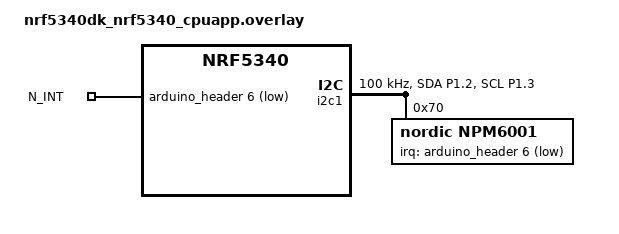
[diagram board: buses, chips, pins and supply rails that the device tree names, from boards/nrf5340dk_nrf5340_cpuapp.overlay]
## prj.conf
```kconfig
#
# Copyright (c) 2022 Nordic Semiconductor
#
# SPDX-License-Identifier: LicenseRef-Nordic-5-Clause
#

# Enable I2C ("TWI")
CONFIG_I2C=y

# Enable nPM6001 NCS driver
CONFIG_PMIC_NPM6001=y
# Enable nPM6001 library
CONFIG_LIB_NPM6001=y
# Needed for certain nPM6001-EK revisions
CONFIG_LIB_NPM6001_C3_WORKAROUND=y

# Enable logging
CONFIG_LOG=y

# Enable Shell
CONFIG_SHELL=y

# Enable DK LED and Buttons library
CONFIG_DK_LIBRARY=y
CONFIG_GPIO=y
```

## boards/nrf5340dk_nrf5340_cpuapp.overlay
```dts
&i2c1 {
	compatible = "nordic,nrf-twim";
	status = "okay";

	pinctrl-0 = <&i2c1_default_alt>;
	pinctrl-1 = <&i2c1_sleep_alt>;
	pinctrl-names = "default", "sleep";
	clock-frequency = <I2C_BITRATE_STANDARD>;

	npm6001@70 {
		status = "okay";
		compatible = "nordic,npm6001";
		label = "NPM6001";
		reg = <0x70>;
		irq-gpios = <&arduino_header 6 (GPIO_PULL_UP | GPIO_ACTIVE_LOW)>;	/* D0 */
		buck0-voltage = <2300>;
		buck1-voltage = <1200>;
		buck2-voltage = <1400>;
		buck3-voltage = <500>;
		ldo0-voltage = <2700>;
		ldo1-voltage = <1800>;
	};
};

&pinctrl {
	i2c1_default_alt: i2c1_default_alt {
		group1 {
			psels = <NRF_PSEL(TWIM_SDA, 1, 2)>,
				<NRF_PSEL(TWIM_SCL, 1, 3)>;
			bias-pull-up;
		};
	};

	i2c1_sleep_alt: i2c1_sleep_alt {
		group1 {
			psels = <NRF_PSEL(TWIM_SDA, 1, 2)>,
				<NRF_PSEL(TWIM_SCL, 1, 3)>;
			bias-pull-up;
			low-power-enable;
		};
	};
};

/ {
	npm6001_irq {
		compatible = "gpio-keys";
		n_int: n_int_0 {
			gpios = <&arduino_header 6 (GPIO_PULL_UP | GPIO_ACTIVE_LOW)>;	/* D0 */
			label = "N_INT";
		};
	};
};
```

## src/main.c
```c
/*
 * Copyright (c) 2022 Nordic Semiconductor ASA
 *
 * SPDX-License-Identifier: LicenseRef-Nordic-5-Clause
 */

#include <zephyr/kernel.h>
#include <zephyr/device.h>
#include <zephyr/drivers/gpio.h>
#include <zephyr/drivers/i2c.h>
#include <zephyr/logging/log.h>

#include <dk_buttons_and_leds.h>

#include <lib_npm6001.h>

LOG_MODULE_REGISTER(main, CONFIG_MAIN_LOG_LEVEL);

#define LED_INIT_OK DK_LED1
#define LED_BUCK3_ON DK_LED2
#define LED_GPIO_ON DK_LED4

#define BUCK0_DEFAULT_VOLTAGE 3300
#define BUCK1_DEFAULT_VOLTAGE 1200
#define BUCK2_DEFAULT_VOLTAGE 1400
#define BUCK3_DEFAULT_VOLTAGE 500
#define LDO0_DEFAULT_VOLTAGE 2700

static K_SEM_DEFINE(n_int_sem, 0, 1);

static uint16_t buck3_voltage = BUCK3_DEFAULT_VOLTAGE;
static bool buck3_enabled = true;
static bool npm6001_gpio_set;

/**
 * @brief Print sample help message to log
 */
static void print_info_message(void)
{
	LOG_INF("nPM6001 sample");
	LOG_INF("");
	LOG_INF("Button behavior:");
	LOG_INF("  Button 1: Toggle BUCK3 regulator on/off");
	LOG_INF("  Button 2: Increase BUCK3 voltage by 25 mV");
	LOG_INF("  Button 3: Decrease BUCK3 voltage by 25 mV");
	LOG_INF("  Button 4: Toggle nPM6001 GPIO pins");
	LOG_INF("  All four buttons pressed at the same time: Hibernate for 8 seconds");
	LOG_INF("LED behavior:");
	LOG_INF("  LED 1: On after successful initialization");
	LOG_INF("  LED 2: On when BUCK3 is turned on");
	LOG_INF("  LED 4: On when nPM6001 GPIO pins are set");
	LOG_INF("  All four LEDs blinking: an error occurred during initialization");
	LOG_INF("");
	LOG_INF("NOTE: The LEDs will likely appear weak if initialization fails,");
	LOG_INF("due to the default nPM6001 BUCK0 supply voltage being relatively low.");
	LOG_INF("");
}

/**
 * @brief Print shell help message to log
 */
static void print_shell_message(void)
{
	LOG_INF("The shell is currently enabled.");
	LOG_INF("See relevant 'npm6001' root command and assosicated subcommands.");
	LOG_INF("(hint: use the 'tab' character for autocompletion)");
}

/**
 * @brief Callback for button events.
 *
 * @param[in]   button_state  Bitmask containing buttons state.
 * @param[in]   has_changed   Bitmask containing buttons that has
 *                            changed their state.
 */
static void button_handler(uint32_t button_state, uint32_t has_changed)
{
	bool set_voltage = false;
	int err;

	if ((button_state & DK_BTN1_MSK) & has_changed) {
		/* Toggle BUCK3 regulator */
		if (buck3_enabled) {
			err = lib_npm6001_vreg_disable(LIB_NPM6001_BUCK3);
			if (err) {
				LOG_ERR("lib_npm6001_vreg_disable=%d", err);
			} else {
				buck3_enabled = false;
				(void) dk_set_led_off(LED_BUCK3_ON);
			}
		} else {
			err = lib_npm6001_vreg_enable(LIB_NPM6001_BUCK3);
			if (err) {
				LOG_ERR("lib_npm6001_vreg_enable=%d", err);
			} else {
				buck3_enabled = true;
				(void) dk_set_led_on(LED_BUCK3_ON);
			}
		}
	}

	if ((button_state & DK_BTN2_MSK) & has_changed) {
		/* Increase voltage by 25 mV */
		buck3_voltage += 25;
		set_voltage = true;
	}

	if ((button_state & DK_BTN3_MSK) & has_changed) {
		/* Decrease voltage by 25 mV */
		buck3_voltage -= 25;
		set_voltage = true;
	}

	if ((button_state & DK_BTN4_MSK) & has_changed) {
		const enum lib_npm6001_gpio gpio_pins[] = {
			LIB_NPM6001_GPIO0,
			LIB_NPM6001_GPIO1,
			LIB_NPM6001_GPIO2,
		};

		/* Toggle nPM6001 GPIO pins */
		for (int i = 0; i < ARRAY_SIZE(gpio_pins); ++i) {
			if (npm6001_gpio_set) {
				err = lib_npm6001_gpio_clr(gpio_pins[i]);
				if (err) {
					LOG_ERR("lib_npm6001_gpio_set=%d", err);
				}
			} else {
				err = lib_npm6001_gpio_set(gpio_pins[i]);
				if (err) {
					LOG_ERR("lib_npm6001_gpio_set=%d", err);
				}
			}
		}

		if (npm6001_gpio_set) {
			npm6001_gpio_set = false;
			(void) dk_set_led_off(LED_GPIO_ON);
		} else {
			npm6001_gpio_set = true;
			(void) dk_set_led_on(LED_GPIO_ON);
		}
	}

	if (button_state == DK_ALL_BTNS_MSK) {
		/* Hibernate for 8 seconds (= 2 ticks) */
		err = lib_npm6001_hibernate(2);
		if (err) {
			LOG_ERR("lib_npm6001_hibernate=%d", err);
		}
	}

	if (set_voltage) {
		buck3_voltage =
			CLAMP(buck3_voltage, LIB_NPM6001_BUCK3_MINV, LIB_NPM6001_BUCK3_MAXV);
		err = lib_npm6001_vreg_voltage_set(LIB_NPM6001_BUCK3, buck3_voltage);
		if (err) {
			LOG_ERR("lib_npm6001_vreg_voltage_set=%d", err);
		}
	}
}

/**
 * @brief Function for initializing LEDs and Buttons.
 */
static int configure_dk_gpio(void)
{
	int err;

	err = dk_buttons_init(button_handler);
	if (err) {
		LOG_ERR("dk_buttons_init=%d", err);
		return err;
	}

	err = dk_leds_init();
	if (err) {
		LOG_ERR("dk_leds_init=%d", err);
		return err;
	}

	return 0;
}

/**
 * @brief Function for initializing nPM6001 PMIC.
 */
static int configure_npm6001(void)
{
	/* Enable pull-downs on mode pins in case they aren't connected to anything.
	 * Note: this will cause an added power drain when the mode pins are actually pulled high.
	 */
	const struct lib_npm6001_mode_pin_cfg pin_cfg = {
		.pad_type = LIB_NPM6001_MODE_PIN_CFG_PAD_TYPE_CMOS,
		.pulldown = LIB_NPM6001_MODE_PIN_CFG_PULLDOWN_ENABLED,
	};
	const enum lib_npm6001_mode_pin mode_pins[] = {
		LIB_NPM6001_BUCK_PIN_MODE0,
		LIB_NPM6001_BUCK_PIN_MODE1,
		LIB_NPM6001_BUCK_PIN_MODE2,
	};
	int err;

	for (int i = 0; i < ARRAY_SIZE(mode_pins); ++i) {
		err = lib_npm6001_mode_pin_cfg(mode_pins[i], &pin_cfg);
		if (err) {
			LOG_ERR("lib_npm6001_mode_pin_cfg(%d)=%d", mode_pins[i], err);
			return err;
		}
	}

	/* Enable BUCK_MODE1 pin for BUCK1 */
	err = lib_npm6001_vreg_mode_pin_enable(LIB_NPM6001_BUCK1, LIB_NPM6001_BUCK_PIN_MODE1);
	if (err) {
		LOG_ERR("lib_npm6001_vreg_mode_pin_enable=%d", err);
		return err;
	}

	buck3_enabled = true;

	const struct lib_npm6001_gpio_cfg gpio_cfg = {
		.direction = LIB_NPM6001_GPIO_CFG_DIRECTION_OUTPUT,
		.input = LIB_NPM6001_GPIO_CFG_INPUT_DISABLED,
		.pulldown = LIB_NPM6001_GPIO_CFG_PULLDOWN_DISABLED,
		.drive = LIB_NPM6001_GPIO_CFG_DRIVE_NORMAL,
		.sense = LIB_NPM6001_GPIO_CFG_SENSE_LOW,
	};
	const enum lib_npm6001_gpio gpio_pins[] = {
		LIB_NPM6001_GPIO0,
		LIB_NPM6001_GPIO1,
		LIB_NPM6001_GPIO2,
	};

	/* Configure nPM6001 GPIO pins as outputs */
	for (int i = 0; i < ARRAY_SIZE(gpio_pins); ++i) {
		err = lib_npm6001_gpio_cfg(gpio_pins[i], &gpio_cfg);
		if (err) {
			LOG_ERR("lib_npm6001_gpio_cfg=%d", err);
			return err;
		}
	}

	npm6001_gpio_set = false;

	/* Enable overcurrent interrupts */
	const enum lib_npm6001_int interrupts[] = {
		LIB_NPM6001_INT_BUCK0_OVERCURRENT,
		LIB_NPM6001_INT_BUCK1_OVERCURRENT,
		LIB_NPM6001_INT_BUCK2_OVERCURRENT,
		LIB_NPM6001_INT_BUCK3_OVERCURRENT,
	};

	for (int i = 0; i < ARRAY_SIZE(interrupts); ++i) {
		err = lib_npm6001_int_enable(interrupts[i]);
		if (err) {
			LOG_ERR("lib_npm6001_int_enable(%d)=%d", (int) interrupts[i], err);
			return err;
		}
	}

	return 0;
}

void main(void)
{
	int err;

	print_info_message();

	if (IS_ENABLED(CONFIG_SHELL)) {
		print_shell_message();
	}

	/* With this hardware configuration, the nPM6001 powers up the nRF5x SoC and associated
	 * Development Kit circuitry. Having a generous delay allows all voltages to settle before
	 * communicating with the nPM6001 EK via the voltage level shifters.
	 */
	k_sleep(K_SECONDS(1));

	err = configure_dk_gpio();
	if (err) {
		LOG_ERR("configure_dk_gpio=%d", err);
		goto init_error;
	}

	err = configure_npm6001();
	if (err) {
		LOG_ERR("configure_npm6001=%d", err);
		goto init_error;
	}

	LOG_INF("nPM6001 successfully configured.");

	err = dk_set_led_on(LED_INIT_OK);
	if (err) {
		LOG_ERR("dk_set_led_on=%d", err);
		goto init_error;
	}

	err = dk_set_led_on(LED_BUCK3_ON);
	if (err) {
		LOG_ERR("dk_set_led_on=%d", err);
		goto init_error;
	}

	return;

init_error:

	while (true) {
		(void) dk_set_leds(DK_ALL_LEDS_MSK);
		k_msleep(250);
		(void) dk_set_leds(DK_NO_LEDS_MSK);
		k_msleep(250);
	}
}
```
